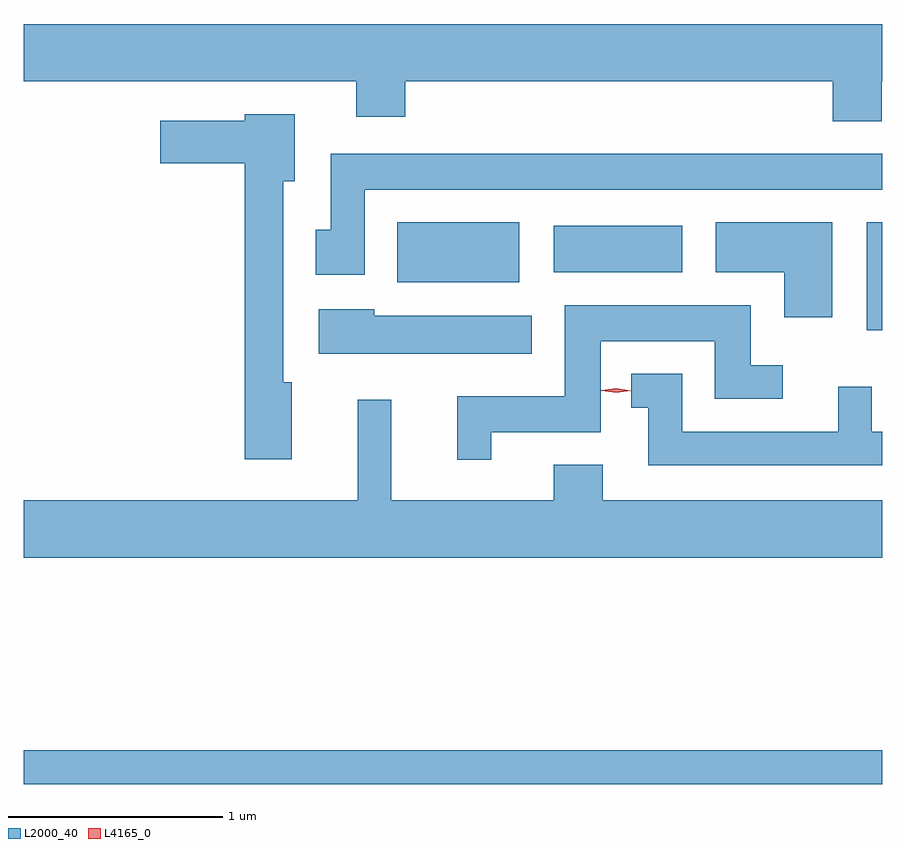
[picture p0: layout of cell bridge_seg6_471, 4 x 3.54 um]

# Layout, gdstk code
import gdstk
lib = gdstk.Library(unit=1e-6, precision=1e-09)
def R(c, l, rs):  # rectangles x0, y0, x1, y1
    for r in rs: c.add(gdstk.rectangle(r[:2], r[2:], *l))
def P(c, l, *ps):  # polygons
    for p in ps: c.add(gdstk.Polygon(p, *l))
L2000_40 = (2000, 40)
L4165_0 = (4165, 0)

bridge_seg6_471 = lib.new_cell('bridge_seg6_471')
R(bridge_seg6_471, L2000_40, [(804.041,1593.381,808.041,1593.539), (807.971,1595.496,808.041,1595.999), (805.781,1595.721,806.349,1595.999), (806.511,1595.766,807.109,1595.984)])
P(bridge_seg6_471, L2000_40, [(808.039,1596.656),(808.041,1596.656),(808.041,1596.924),(804.041,1596.924),(804.041,1596.656),(805.591,1596.656),(805.591,1596.491),(805.819,1596.491),(805.819,1596.656),(807.811,1596.656),(807.811,1596.471),(808.039,1596.471)],
  [(805.289,1595.254),(805.249,1595.254),(805.249,1596.191),(805.304,1596.191),(805.304,1596.504),(805.071,1596.504),(805.071,1596.474),(804.676,1596.474),(804.676,1596.276),(805.071,1596.276),(805.071,1594.896),(805.289,1594.896)],
  [(805.629,1596.151),(808.041,1596.151),(808.041,1596.319),(805.471,1596.319),(805.471,1595.964),(805.401,1595.964),(805.401,1595.756),(805.629,1595.756)],
  [(807.809,1595.999),(807.266,1595.999),(807.266,1595.766),(807.586,1595.766),(807.586,1595.556),(807.809,1595.556)],
  [(806.219,1595.021),(806.729,1595.021),(806.729,1595.446),(807.261,1595.446),(807.261,1595.176),(807.578,1595.176),(807.578,1595.334),(807.429,1595.334),(807.429,1595.614),(806.561,1595.614),(806.561,1595.189),(806.061,1595.189),(806.061,1594.893),(806.219,1594.893)],
  [(806.409,1595.564),(805.674,1595.564),(805.674,1595.594),(805.416,1595.594),(805.416,1595.386),(806.409,1595.386)],
  [(808.041,1595.024),(807.994,1595.024),(807.994,1595.233),(807.836,1595.233),(807.836,1595.024),(807.109,1595.024),(807.109,1595.294),(806.873,1595.294),(806.873,1595.136),(806.951,1595.136),(806.951,1594.866),(808.041,1594.866)],
  [(808.041,1594.704),(806.739,1594.704),(806.739,1594.869),(806.511,1594.869),(806.511,1594.704),(805.754,1594.704),(805.754,1595.173),(805.596,1595.173),(805.596,1594.704),(804.041,1594.704),(804.041,1594.436),(808.041,1594.436)])
P(bridge_seg6_471, L4165_0, [(806.801,1595.205),(806.732,1595.215),(806.732,1595.215),(806.732,1595.216),(806.801,1595.225),(806.871,1595.215),(806.871,1595.215),(806.871,1595.214)])

lib.write_gds('bridge_seg6_471.gds')
